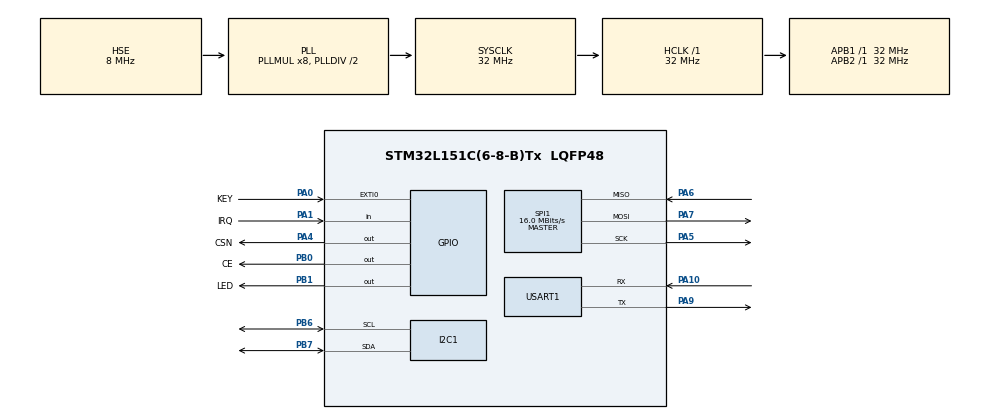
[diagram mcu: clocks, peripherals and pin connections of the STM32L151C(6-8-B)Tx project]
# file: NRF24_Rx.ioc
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Mcu.Family=STM32L1
Mcu.Name=STM32L151C(6-8-B)Tx
Mcu.Package=LQFP48
NVIC.EXTI0_IRQn=true\:2\:0\:true
NVIC.PriorityGroup=NVIC_PRIORITYGROUP_4
NVIC.USART1_IRQn=true\:1\:0\:true
PA0-WKUP1.GPIO_Label=KEY
PA0-WKUP1.GPIO_ModeDefaultEXTI=GPIO_MODE_IT_RISING
PA0-WKUP1.GPIO_PuPd=GPIO_PULLDOWN
PA0-WKUP1.Signal=GPXTI0
PA1.GPIO_Label=IRQ
PA1.GPIO_PuPd=GPIO_PULLUP
PA1.Signal=GPIO_Input
PA10.Mode=Asynchronous
PA10.Signal=USART1_RX
PA13.Mode=Serial-Wire
PA13.Signal=SYS_JTMS-SWDIO
PA14.Mode=Serial-Wire
PA14.Signal=SYS_JTCK-SWCLK
PA4.GPIO_Label=CSN
PA4.GPIO_ModeDefaultOutputPP=GPIO_MODE_OUTPUT_PP
PA4.GPIO_PuPd=GPIO_PULLUP
PA4.GPIO_Speed=GPIO_SPEED_MEDIUM
PA4.PinState=GPIO_PIN_SET
PA4.Signal=GPIO_Output
PA5.Mode=Full_Duplex_Master
PA5.Signal=SPI1_SCK
PA6.Mode=Full_Duplex_Master
PA6.Signal=SPI1_MISO
PA7.Mode=Full_Duplex_Master
PA7.Signal=SPI1_MOSI
PA9.Mode=Asynchronous
PA9.Signal=USART1_TX
PB0.GPIO_Label=CE
PB0.GPIO_ModeDefaultOutputPP=GPIO_MODE_OUTPUT_PP
PB0.GPIO_PuPd=GPIO_PULLUP
PB0.GPIO_Speed=GPIO_SPEED_MEDIUM
PB0.PinState=GPIO_PIN_SET
PB0.Signal=GPIO_Output
PB1.GPIO_Label=LED
PB1.GPIO_PuPd=GPIO_PULLUP
PB1.Signal=GPIO_Output
PB6.Mode=I2C
PB6.Signal=I2C1_SCL
PB7.Mode=I2C
PB7.Signal=I2C1_SDA
PC14-OSC32_IN.Mode=LSE-External-Oscillator
PC14-OSC32_IN.Signal=RCC_OSC32_IN
PC15-OSC32_OUT.Mode=LSE-External-Oscillator
PC15-OSC32_OUT.Signal=RCC_OSC32_OUT
PH0-OSC_IN.Mode=HSE-External-Oscillator
PH0-OSC_IN.Signal=RCC_OSC_IN
PH1-OSC_OUT.Mode=HSE-External-Oscillator
PH1-OSC_OUT.Signal=RCC_OSC_OUT
ProjectManager.HeapSize=0x400
ProjectManager.StackSize=0x200
ProjectManager.TargetToolchain=EWARM
RCC.AHBFreq_Value=32000000
RCC.APB1Freq_Value=32000000
RCC.APB1TimFreq_Value=32000000
RCC.APB2Freq_Value=32000000
RCC.APB2TimFreq_Value=32000000
RCC.HCLKFreq_Value=32000000
RCC.HSE_VALUE=8000000
RCC.HSI_VALUE=16000000
RCC.MSI_VALUE=2097000
RCC.PLLMUL=RCC_PLL_MUL8
RCC.PLLSourceVirtual=RCC_PLLSOURCE_HSE
RCC.SYSCLKFreq_VALUE=32000000
RCC.SYSCLKSource=RCC_SYSCLKSOURCE_PLLCLK
RCC.USBOutput=32000000
RCC.VCOOutputFreq_Value=64000000
SPI1.BaudRatePrescaler=SPI_BAUDRATEPRESCALER_2
SPI1.CLKPhase=SPI_PHASE_2EDGE
SPI1.CLKPolarity=SPI_POLARITY_HIGH
SPI1.CalculateBaudRate=16.0 MBits/s
SPI1.Mode=SPI_MODE_MASTER
board=NRF24_Rx

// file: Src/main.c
/**
  ******************************************************************************
  * File Name          : main.c
  * Description        : Main program body
  ******************************************************************************
  *
  * COPYRIGHT(c) 2016 STMicroelectronics
  *
  * Redistribution and use in source and binary forms, with or without modification,
  * are permitted provided that the following conditions are met:
  *   1. Redistributions of source code must retain the above copyright notice,
  *      this list of conditions and the following disclaimer.
  *   2. Redistributions in binary form must reproduce the above copyright notice,
  *      this list of conditions and the following disclaimer in the documentation
  *      and/or other materials provided with the distribution.
  *   3. Neither the name of STMicroelectronics nor the names of its contributors
  *      may be used to endorse or promote products derived from this software
  *      without specific prior written permission.
  *
  * THIS SOFTWARE IS PROVIDED BY THE COPYRIGHT HOLDERS AND CONTRIBUTORS "AS IS"
  * AND ANY EXPRESS OR IMPLIED WARRANTIES, INCLUDING, BUT NOT LIMITED TO, THE
  * IMPLIED WARRANTIES OF MERCHANTABILITY AND FITNESS FOR A PARTICULAR PURPOSE ARE
  * DISCLAIMED. IN NO EVENT SHALL THE COPYRIGHT HOLDER OR CONTRIBUTORS BE LIABLE
  * FOR ANY DIRECT, INDIRECT, INCIDENTAL, SPECIAL, EXEMPLARY, OR CONSEQUENTIAL
  * DAMAGES (INCLUDING, BUT NOT LIMITED TO, PROCUREMENT OF SUBSTITUTE GOODS OR
  * SERVICES; LOSS OF USE, DATA, OR PROFITS; OR BUSINESS INTERRUPTION) HOWEVER
  * CAUSED AND ON ANY THEORY OF LIABILITY, WHETHER IN CONTRACT, STRICT LIABILITY,
  * OR TORT (INCLUDING NEGLIGENCE OR OTHERWISE) ARISING IN ANY WAY OUT OF THE USE
  * OF THIS SOFTWARE, EVEN IF ADVISED OF THE POSSIBILITY OF SUCH DAMAGE.
  *
  ******************************************************************************
  */
#include "stm32l1xx_hal.h"
#include "i2c.h"
#include "spi.h"
#include "usart.h"
#include "gpio.h"

/* USER CODE BEGIN Includes */
#include "BSP_drive.h"
#include "NRF24L01.h"
/* USER CODE END Includes */

/* USER CODE BEGIN PV */
/* Private variables ---------------------------------------------------------*/

/* USER CODE END PV */

void SystemClock_Config(void);

/* USER CODE BEGIN PFP */
/* Private function prototypes -----------------------------------------------*/

/* USER CODE END PFP */

int main(void)
{

  /* USER CODE BEGIN 1 */
  	uint8_t RxData[32]={0};
	uint8_t RxLenth=0;
  /* USER CODE END 1 */

  /* MCU Configuration----------------------------------------------------------*/

  /* Reset of all peripherals, Initializes the Flash interface and the Systick. */
  HAL_Init();

  /* Configure the system clock */
  SystemClock_Config();

  /* Initialize all configured peripherals */
  MX_GPIO_Init();
  MX_I2C1_Init();
  MX_SPI1_Init();
  MX_USART1_UART_Init();

  /* USER CODE BEGIN 2 */
	BSP_NRF24_Init();

	if(NRF24L01_Check()==0){
		printf("NRF24L01 Erroe!\r\n");
		while (1){}
	}
	printf("NRF24L01 OK!\r\n");
	NRF24L01_RxMode();
  /* USER CODE END 2 */

  /* Infinite loop */
  /* USER CODE BEGIN WHILE */
  while (1)
  {
	RxLenth=NRF24L01_RxPacket(RxData);
	if (RxLenth!=0){// 收到数据
	  printf("RX=%s\r\n",RxData);
	  memset(RxData, 0, 32);
	  RxLenth = 0;
	}
	HAL_Delay(20);
  /* USER CODE END WHILE */

  }

}

/** System Clock Configuration
*/
void SystemClock_Config(void)
{

  RCC_OscInitTypeDef RCC_OscInitStruct;
  RCC_ClkInitTypeDef RCC_ClkInitStruct;

  __PWR_CLK_ENABLE();

  __HAL_PWR_VOLTAGESCALING_CONFIG(PWR_REGULATOR_VOLTAGE_SCALE1);

  RCC_OscInitStruct.OscillatorType = RCC_OSCILLATORTYPE_HSE;
  RCC_OscInitStruct.HSEState = RCC_HSE_ON;
  RCC_OscInitStruct.PLL.PLLState = RCC_PLL_ON;
  RCC_OscInitStruct.PLL.PLLSource = RCC_PLLSOURCE_HSE;
  RCC_OscInitStruct.PLL.PLLMUL = RCC_PLL_MUL8;
  RCC_OscInitStruct.PLL.PLLDIV = RCC_PLL_DIV2;
  HAL_RCC_OscConfig(&RCC_OscInitStruct);

  RCC_ClkInitStruct.ClockType = RCC_CLOCKTYPE_HCLK|RCC_CLOCKTYPE_SYSCLK
                              |RCC_CLOCKTYPE_PCLK1|RCC_CLOCKTYPE_PCLK2;
  RCC_ClkInitStruct.SYSCLKSource = RCC_SYSCLKSOURCE_PLLCLK;
  RCC_ClkInitStruct.AHBCLKDivider = RCC_SYSCLK_DIV1;
  RCC_ClkInitStruct.APB1CLKDivider = RCC_HCLK_DIV1;
  RCC_ClkInitStruct.APB2CLKDivider = RCC_HCLK_DIV1;
  HAL_RCC_ClockConfig(&RCC_ClkInitStruct, FLASH_LATENCY_1);

  HAL_SYSTICK_Config(HAL_RCC_GetHCLKFreq()/1000);

  HAL_SYSTICK_CLKSourceConfig(SYSTICK_CLKSOURCE_HCLK);

  /* SysTick_IRQn interrupt configuration */
  HAL_NVIC_SetPriority(SysTick_IRQn, 0, 0);
}

/************************ (C) COPYRIGHT STMicroelectronics *****END OF FILE****/
